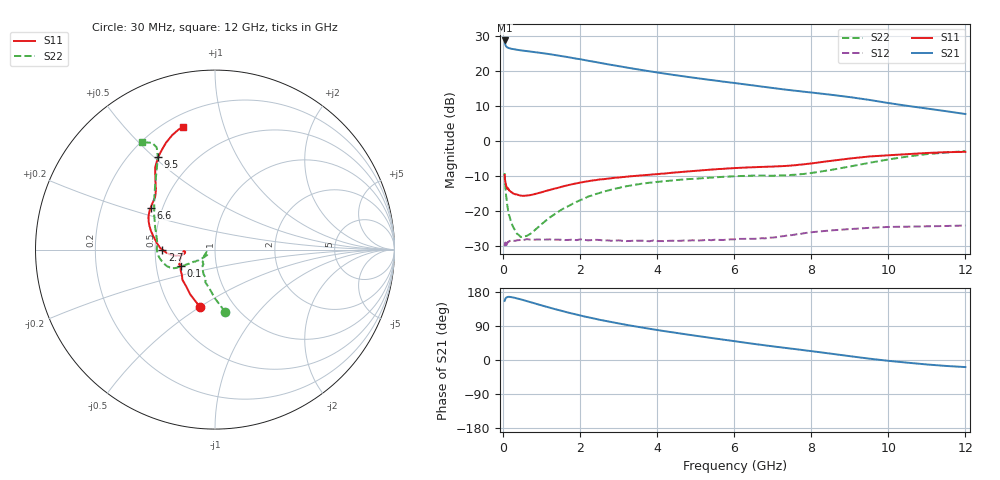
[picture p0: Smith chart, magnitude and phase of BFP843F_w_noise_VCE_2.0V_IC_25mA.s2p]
! Infineon Technologies  Discrete & RF Semiconductors
! BFP843F
! VCE =  2.0 V,  IC =  25 mA
! Common Emitter S-Parameters:  Aug 2013
# GHz  S  MA  R  50
!  f  S11  S21  S12  S22
! GHz  MAG  ANG  MAG  ANG  MAG  ANG  MAG  ANG
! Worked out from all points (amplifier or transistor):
!   103 points, 30 MHz to 12 GHz, reference 50 ohm
!   highest |S21| = 28.7 dB at 30 MHz (marker M1)
!   |S21| within 3 dB of that: start of sweep to 580.9 MHz
!   unconditionally stable (mu >= 1): 116.8 MHz to end of sweep
!   at 400 MHz: K = 1.02, MAG = 26.3 dB, |S12| = -28.2 dB
!   at 3.7 GHz: K = 1.26, MAG = 21.2 dB, |S12| = -28.5 dB
!   at 12 GHz: K = 1.19, MAG = 13.2 dB, |S12| = -24.0 dB
!   lowest NFmin = 0.98 dB at 450 MHz
!   S11 on the Smith chart (normalised r, x): 30 MHz: 0.70, -0.50; 100 MHz: 0.67, -0.13; 2.7 GHz: 0.55, -0.00; 6.6 GHz: 0.43, +0.25; 9.5 GHz: 0.32, +0.52; 12 GHz: 0.27, +0.74
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0.03  0.3307 -104.6  27.38 156.1  0.0319 20.6  0.352 -80.7
0.04  0.286 -118.7  25.08 158.2  0.0344 18.9  0.2708 -90.2
0.05  0.2604 -128.0  23.71 161.7  0.036 17.5  0.2242 -97.1
0.07  0.2319 -142.6  22.54 164.3  0.0344 16.1  0.1653 -108.5
0.1  0.2102 -154.8  21.76 166.0  0.036 6.8  0.1211 -124.2
0.13  0.2049 -161.9  21.43 166.7  0.0369 8.8  0.0976 -135.3
0.2  0.1891 -171.6  20.84 166.0  0.0386 7.4  0.0698 -150.8
0.45  0.1678 -176.6  19.79 159.9  0.0391 4.2  0.0431 -158.9
0.9  0.1816 -171.2  18.39 146.7  0.0397 2.7  0.0593 -145.5
1.3  0.2093 -171.1  17.1 135.3  0.0395 3.0  0.0888 -145.9
1.7  0.2376 -172.3  15.75 124.7  0.0392 2.8  0.1197 -148.7
2.1  0.2636 -175.4  14.41 114.9  0.0393 3.8  0.1522 -151.0
2.7  0.2926 -180.0  12.55 102.2  0.0386 4.0  0.197 -153.0
3.4  0.3195 174.8  10.79 89.1  0.0382 6.0  0.2399 -154.9
4.1  0.3444 169.4  9.384 77.5  0.0377 8.8  0.2664 -157.9
5  0.379 162.1  7.98 63.9  0.0385 12.4  0.2928 -164.1
6.1  0.4167 152.4  6.664 48.2  0.0405 17.2  0.3184 -174.8
6.6  0.4282 146.8  6.136 41.2  0.0407 20.1  0.3244 179.4
8.5  0.525 129.3  4.609 16.8  0.0535 24.2  0.3892 150.5
9.5  0.6062 121.4  3.89 3.6  0.0582 21.1  0.4918 132.7
10.5  0.6553 114.6  3.195 -7.1  0.0605 18.7  0.6057 121.7
12  0.7062 104.7  2.444 -18.7  0.0629 19.4  0.7238 124.1
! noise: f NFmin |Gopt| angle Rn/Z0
0.45  0.98  0.13  176  0.14
0.9  0.99  0.14  178  0.15
1.5  1.02  0.16  -175  0.15
1.9  1.06  0.17  -172  0.15
2.4  1.09  0.18  -168  0.16
3.5  1.15  0.18  -165  0.21
5.5  1.25  0.23  -141  0.27
10  1.76  0.4  -102  0.36
